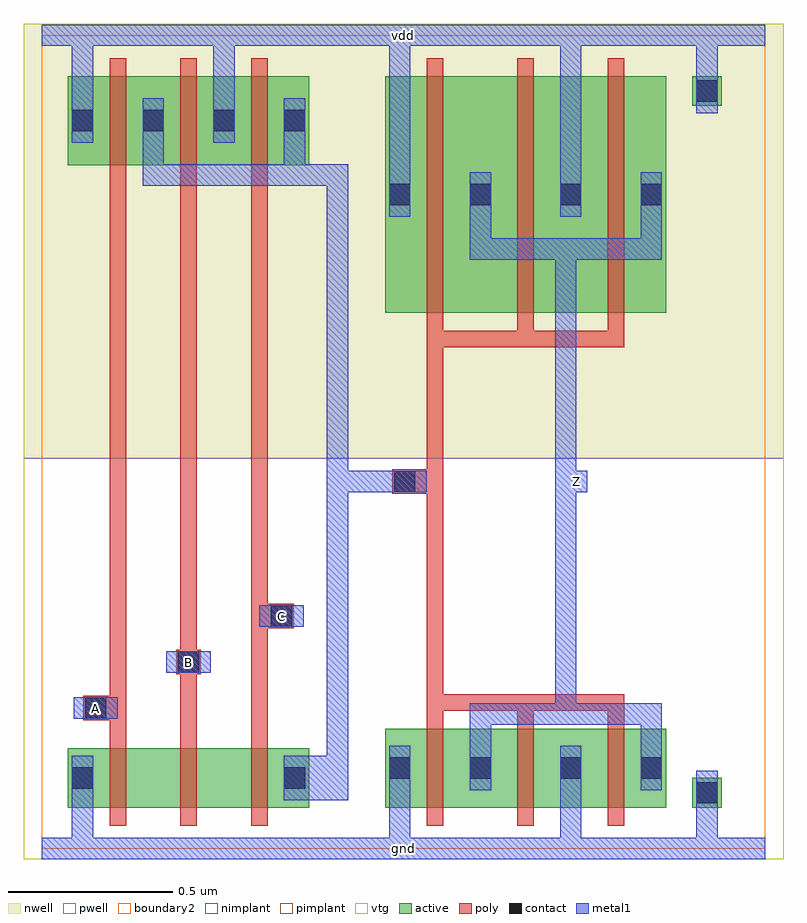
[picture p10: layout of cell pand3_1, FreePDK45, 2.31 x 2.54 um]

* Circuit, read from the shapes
.subckt pand3_1 A B C Z gnd vdd
M1 pnand3_0_0/nmos_m1_w0_180_sm1_dactive_3/D A gnd gnd nfet w=0.18u l=0.05u
M2 pnand3_0_0/nmos_m1_w0_180_sactive_dactive_4/D B pnand3_0_0/nmos_m1_w0_180_sm1_dactive_3/D gnd nfet w=0.18u l=0.05u
M3 pdriver_4_1/A C pnand3_0_0/nmos_m1_w0_180_sactive_dactive_4/D gnd nfet w=0.18u l=0.05u
M4 Z pdriver_4_1/A gnd gnd nfet w=0.24u l=0.05u m=3
M5 pdriver_4_1/A A vdd vdd pfet w=0.27u l=0.05u
M6 vdd B pdriver_4_1/A vdd pfet w=0.27u l=0.05u
M7 pdriver_4_1/A C vdd vdd pfet w=0.27u l=0.05u
M8 Z pdriver_4_1/A vdd vdd pfet w=0.72u l=0.05u m=3
.ends

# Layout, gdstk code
import gdstk
lib = gdstk.Library(unit=1e-6, precision=5e-10)
def R(c, l, rs):  # rectangles x0, y0, x1, y1
    for r in rs: c.add(gdstk.rectangle(r[:2], r[2:], *l))
def A(c, l, x, y, w, h, nx, ny, dx, dy):  # array of equal rectangles
    R(c, l, [(x+i*dx, y+j*dy, x+i*dx+w, y+j*dy+h) for i in range(nx) for j in range(ny)])
active = (1, 0)
pwell = (2, 0)
nwell = (3, 0)
nimplant = (4, 0)
pimplant = (5, 0)
vtg = (6, 0)
poly = (9, 0)
contact = (10, 0)
metal1 = (11, 0)
boundary2 = (239, 0)

contact_10 = lib.new_cell('contact_10')
R(contact_10, active, [(0,0.0225,0.09,0.1125)])
R(contact_10, nwell, [(-0.055,-0.0325,0.145,0.1675)])
R(contact_10, pimplant, [(0,0.0225,0.09,0.1125)])
R(contact_10, contact, [(0.0125,0.035,0.0775,0.1)])
R(contact_10, metal1, [(0.0125,0,0.0775,0.135)])
R(contact_10, boundary2, [(-0.055,-0.0325,0.145,0.1675)])

pmos_m1_w0_270_sm1_dm1 = lib.new_cell('pmos_m1_w0_270_sm1_dm1')
R(pmos_m1_w0_270_sm1_dm1, active, [(0,0,0.305,0.27)])
R(pmos_m1_w0_270_sm1_dm1, nwell, [(-0.08,-0.08,0.385,0.35)])
R(pmos_m1_w0_270_sm1_dm1, pimplant, [(0,0,0.305,0.27)])
R(pmos_m1_w0_270_sm1_dm1, vtg, [(-0.08,-0.08,0.385,0.35)])
R(pmos_m1_w0_270_sm1_dm1, poly, [(0.1275,-0.055,0.1775,0.325), (0.1275,-0.055,0.1775,0.325)])
R(pmos_m1_w0_270_sm1_dm1, metal1, [(0.0125,0.0675,0.0775,0.2025), (0.2275,0.0675,0.2925,0.2025)])
R(pmos_m1_w0_270_sm1_dm1, boundary2, [(-0.08,-0.08,0.385,0.35)])
pmos_m1_w0_270_sm1_dm1.add(gdstk.Reference(contact_10, (0,0.0675)))
pmos_m1_w0_270_sm1_dm1.add(gdstk.Reference(contact_10, (0.215,0.0675)))
pmos_m1_w0_270_sm1_dm1.add(gdstk.Label('S', (0.045,0.135), layer=11, texttype=0))
pmos_m1_w0_270_sm1_dm1.add(gdstk.Label('D', (0.26,0.135), layer=11, texttype=0))
pmos_m1_w0_270_sm1_dm1.add(gdstk.Label('G', (0.1525,0.135), layer=9, texttype=0))

contact_9 = lib.new_cell('contact_9')
R(contact_9, active, [(0,0.0225,0.09,0.1125)])
R(contact_9, pwell, [(-0.055,-0.0325,0.145,0.1675)])
R(contact_9, nimplant, [(0,0.0225,0.09,0.1125)])
R(contact_9, contact, [(0.0125,0.035,0.0775,0.1)])
R(contact_9, metal1, [(0.0125,0,0.0775,0.135)])
R(contact_9, boundary2, [(-0.055,-0.0325,0.145,0.1675)])

nmos_m1_w0_180_sm1_dacti = lib.new_cell('nmos_m1_w0_180_sm1_dactive')
R(nmos_m1_w0_180_sm1_dacti, active, [(0,0,0.305,0.18), (0.215,0.045,0.305,0.135)])
R(nmos_m1_w0_180_sm1_dacti, pwell, [(-0.08,-0.08,0.385,0.26)])
R(nmos_m1_w0_180_sm1_dacti, nimplant, [(0,0,0.305,0.18)])
R(nmos_m1_w0_180_sm1_dacti, vtg, [(-0.08,-0.08,0.385,0.26)])
R(nmos_m1_w0_180_sm1_dacti, poly, [(0.1275,-0.055,0.1775,0.235), (0.1275,-0.055,0.1775,0.235)])
R(nmos_m1_w0_180_sm1_dacti, metal1, [(0.0125,0.0225,0.0775,0.1575)])
R(nmos_m1_w0_180_sm1_dacti, boundary2, [(-0.08,-0.08,0.385,0.26)])
nmos_m1_w0_180_sm1_dacti.add(gdstk.Reference(contact_9, (0,0.0225)))
nmos_m1_w0_180_sm1_dacti.add(gdstk.Label('S', (0.045,0.09), layer=11, texttype=0))
nmos_m1_w0_180_sm1_dacti.add(gdstk.Label('D', (0.26,0.09), layer=1, texttype=0))
nmos_m1_w0_180_sm1_dacti.add(gdstk.Label('G', (0.1525,0.09), layer=9, texttype=0))

nmos_m1_w0_180_sactive_d = lib.new_cell('nmos_m1_w0_180_sactive_dactive')
R(nmos_m1_w0_180_sactive_d, active, [(0,0,0.305,0.18), (0,0.045,0.09,0.135), (0.215,0.045,0.305,0.135)])
R(nmos_m1_w0_180_sactive_d, pwell, [(-0.08,-0.08,0.385,0.26)])
R(nmos_m1_w0_180_sactive_d, nimplant, [(0,0,0.305,0.18)])
R(nmos_m1_w0_180_sactive_d, vtg, [(-0.08,-0.08,0.385,0.26)])
R(nmos_m1_w0_180_sactive_d, poly, [(0.1275,-0.055,0.1775,0.235), (0.1275,-0.055,0.1775,0.235)])
R(nmos_m1_w0_180_sactive_d, boundary2, [(-0.08,-0.08,0.385,0.26)])
nmos_m1_w0_180_sactive_d.add(gdstk.Label('S', (0.045,0.09), layer=1, texttype=0))
nmos_m1_w0_180_sactive_d.add(gdstk.Label('D', (0.26,0.09), layer=1, texttype=0))
nmos_m1_w0_180_sactive_d.add(gdstk.Label('G', (0.1525,0.09), layer=9, texttype=0))

c_nmos_m1_w0_180_sactive_d = lib.new_cell('nmos_m1_w0_180_sactive_dm1')
R(c_nmos_m1_w0_180_sactive_d, active, [(0,0,0.305,0.18), (0,0.045,0.09,0.135)])
R(c_nmos_m1_w0_180_sactive_d, pwell, [(-0.08,-0.08,0.385,0.26)])
R(c_nmos_m1_w0_180_sactive_d, nimplant, [(0,0,0.305,0.18)])
R(c_nmos_m1_w0_180_sactive_d, vtg, [(-0.08,-0.08,0.385,0.26)])
R(c_nmos_m1_w0_180_sactive_d, poly, [(0.1275,-0.055,0.1775,0.235), (0.1275,-0.055,0.1775,0.235)])
R(c_nmos_m1_w0_180_sactive_d, metal1, [(0.2275,0.0225,0.2925,0.1575)])
R(c_nmos_m1_w0_180_sactive_d, boundary2, [(-0.08,-0.08,0.385,0.26)])
c_nmos_m1_w0_180_sactive_d.add(gdstk.Reference(contact_9, (0.215,0.0225)))
c_nmos_m1_w0_180_sactive_d.add(gdstk.Label('D', (0.26,0.09), layer=11, texttype=0))
c_nmos_m1_w0_180_sactive_d.add(gdstk.Label('S', (0.045,0.09), layer=1, texttype=0))
c_nmos_m1_w0_180_sactive_d.add(gdstk.Label('G', (0.1525,0.09), layer=9, texttype=0))

contact_13 = lib.new_cell('contact_13')
R(contact_13, poly, [(0.03,0,0.105,0.075)])
R(contact_13, contact, [(0.035,0.005,0.1,0.07)])
R(contact_13, metal1, [(0,0.005,0.135,0.07)])
R(contact_13, boundary2, [(0,0,0.135,0.075)])

pnand3_0 = lib.new_cell('pnand3_0')
R(pnand3_0, pwell, [(-0.055,-0.0325,1.02,1.1875)])
R(pnand3_0, nwell, [(-0.055,1.1875,1.02,2.51)])
R(pnand3_0, vtg, [(-0.055,-0.0325,1.02,1.1875), (-0.055,1.1875,1.02,2.51)])
A(pnand3_0, poly, 0.2075, 0.36, 0.05, 1.665, 3, 1, 0.215, 0)
R(pnand3_0, poly, [(0.165,0.39,0.2075,0.465), (0.4225,0.53,0.4475,0.605), (0.6375,0.67,0.73,0.745)])
R(pnand3_0, metal1, [(0,-0.0325,0.965,0.0325), (0.0925,-0.0325,0.1575,0.1475), (0.77,0.1475,0.9,0.2825), (0.8675,0.1475,0.9325,2.05), (0.0975,0.395,0.2325,0.46), (0.38,0.535,0.515,0.6), (0.6625,0.675,0.7975,0.74), (0.3075,2.0175,0.3725,2.0825), (0.34,2.0175,0.9,2.0825), (0.7375,2.0175,0.8025,2.0825), (0.77,2.0175,0.9,2.0825), (0.8675,2.0175,0.9325,2.0825), (0.3075,2.05,0.3725,2.215), (0.7375,2.05,0.8025,2.215), (0.0925,2.1475,0.1575,2.5075), (0.5225,2.1475,0.5875,2.5075), (0,2.4425,0.965,2.5075)])
R(pnand3_0, boundary2, [(0,0,0.965,2.475), (0,0,0.965,2.475)])
pnand3_0.add(gdstk.Reference(pmos_m1_w0_270_sm1_dm1, (0.08,2.08)))
pnand3_0.add(gdstk.Reference(pmos_m1_w0_270_sm1_dm1, (0.295,2.08)))
pnand3_0.add(gdstk.Reference(pmos_m1_w0_270_sm1_dm1, (0.51,2.08)))
pnand3_0.add(gdstk.Reference(nmos_m1_w0_180_sm1_dacti, (0.08,0.125)))
pnand3_0.add(gdstk.Reference(nmos_m1_w0_180_sactive_d, (0.295,0.125)))
pnand3_0.add(gdstk.Reference(c_nmos_m1_w0_180_sactive_d, (0.51,0.125)))
pnand3_0.add(gdstk.Reference(contact_13, (0.0975,0.39)))
pnand3_0.add(gdstk.Reference(contact_13, (0.38,0.53)))
pnand3_0.add(gdstk.Reference(contact_13, (0.6625,0.67)))
pnand3_0.add(gdstk.Label('A', (0.165,0.4275), layer=11, texttype=0))
pnand3_0.add(gdstk.Label('B', (0.4475,0.5675), layer=11, texttype=0))
pnand3_0.add(gdstk.Label('C', (0.73,0.7075), layer=11, texttype=0))
pnand3_0.add(gdstk.Label('Z', (0.9,2.05), layer=11, texttype=0))
pnand3_0.add(gdstk.Label('gnd', (0.4825,0), layer=11, texttype=0))
pnand3_0.add(gdstk.Label('vdd', (0.4825,2.475), layer=11, texttype=0))

pmos_m3_w0_720_sm1_dm1_d = lib.new_cell('pmos_m3_w0_720_sm1_dm1_da_p')
R(pmos_m3_w0_720_sm1_dm1_d, active, [(0,0,0.855,0.72)])
R(pmos_m3_w0_720_sm1_dm1_d, nwell, [(-0.08,-0.08,0.935,0.8)])
R(pmos_m3_w0_720_sm1_dm1_d, pimplant, [(0,0,0.855,0.72)])
R(pmos_m3_w0_720_sm1_dm1_d, vtg, [(-0.08,-0.08,0.935,0.8)])
A(pmos_m3_w0_720_sm1_dm1_d, poly, 0.1275, -0.055, 0.05, 0.83, 3, 1, 0.275, 0)
R(pmos_m3_w0_720_sm1_dm1_d, poly, [(0.1275,-0.105,0.7275,-0.055)])
R(pmos_m3_w0_720_sm1_dm1_d, metal1, [(0.2575,0.1625,0.8425,0.2275), (0.2575,0.195,0.3225,0.36), (0.7775,0.195,0.8425,0.36), (0.0125,0.2925,0.0775,0.4275), (0.5325,0.2925,0.5975,0.4275)])
R(pmos_m3_w0_720_sm1_dm1_d, boundary2, [(-0.08,-0.105,0.935,0.8)])
pmos_m3_w0_720_sm1_dm1_d.add(gdstk.Reference(contact_10, (0,0.2925)))
pmos_m3_w0_720_sm1_dm1_d.add(gdstk.Reference(contact_10, (0.245,0.2925)))
pmos_m3_w0_720_sm1_dm1_d.add(gdstk.Reference(contact_10, (0.52,0.2925)))
pmos_m3_w0_720_sm1_dm1_d.add(gdstk.Reference(contact_10, (0.765,0.2925)))
pmos_m3_w0_720_sm1_dm1_d.add(gdstk.Label('S', (0.565,0.36), layer=11, texttype=0))
pmos_m3_w0_720_sm1_dm1_d.add(gdstk.Label('S', (0.045,0.36), layer=11, texttype=0))
pmos_m3_w0_720_sm1_dm1_d.add(gdstk.Label('D', (0.55,0.195), layer=11, texttype=0))
pmos_m3_w0_720_sm1_dm1_d.add(gdstk.Label('G', (0.4275,-0.08), layer=9, texttype=0))

nmos_m3_w0_240_sm1_dm1_d = lib.new_cell('nmos_m3_w0_240_sm1_dm1_da_p')
R(nmos_m3_w0_240_sm1_dm1_d, active, [(0,0,0.855,0.24)])
R(nmos_m3_w0_240_sm1_dm1_d, pwell, [(-0.08,-0.08,0.935,0.32)])
R(nmos_m3_w0_240_sm1_dm1_d, nimplant, [(0,0,0.855,0.24)])
R(nmos_m3_w0_240_sm1_dm1_d, vtg, [(-0.08,-0.08,0.935,0.32)])
A(nmos_m3_w0_240_sm1_dm1_d, poly, 0.1275, -0.055, 0.05, 0.35, 3, 1, 0.275, 0)
R(nmos_m3_w0_240_sm1_dm1_d, poly, [(0.1275,0.295,0.7275,0.345)])
R(nmos_m3_w0_240_sm1_dm1_d, metal1, [(0.0125,0.0525,0.0775,0.1875), (0.5325,0.0525,0.5975,0.1875), (0.2575,0.12,0.3225,0.285), (0.7775,0.12,0.8425,0.285), (0.2575,0.2525,0.8425,0.3175)])
R(nmos_m3_w0_240_sm1_dm1_d, boundary2, [(-0.08,-0.08,0.935,0.345)])
nmos_m3_w0_240_sm1_dm1_d.add(gdstk.Reference(contact_9, (0,0.0525)))
nmos_m3_w0_240_sm1_dm1_d.add(gdstk.Reference(contact_9, (0.245,0.0525)))
nmos_m3_w0_240_sm1_dm1_d.add(gdstk.Reference(contact_9, (0.52,0.0525)))
nmos_m3_w0_240_sm1_dm1_d.add(gdstk.Reference(contact_9, (0.765,0.0525)))
nmos_m3_w0_240_sm1_dm1_d.add(gdstk.Label('S', (0.565,0.12), layer=11, texttype=0))
nmos_m3_w0_240_sm1_dm1_d.add(gdstk.Label('S', (0.045,0.12), layer=11, texttype=0))
nmos_m3_w0_240_sm1_dm1_d.add(gdstk.Label('D', (0.55,0.285), layer=11, texttype=0))
nmos_m3_w0_240_sm1_dm1_d.add(gdstk.Label('G', (0.4275,0.32), layer=9, texttype=0))

contact_11 = lib.new_cell('contact_11')
R(contact_11, active, [(0,0.0225,0.09,0.1125)])
R(contact_11, nwell, [(-0.055,-0.0325,0.145,0.1675)])
R(contact_11, nimplant, [(0,0.0225,0.09,0.1125)])
R(contact_11, contact, [(0.0125,0.035,0.0775,0.1)])
R(contact_11, metal1, [(0.0125,0,0.0775,0.135)])
R(contact_11, boundary2, [(-0.055,-0.0325,0.145,0.1675)])

contact_12 = lib.new_cell('contact_12')
R(contact_12, active, [(0,0.0225,0.09,0.1125)])
R(contact_12, pwell, [(-0.055,-0.0325,0.145,0.1675)])
R(contact_12, pimplant, [(0,0.0225,0.09,0.1125)])
R(contact_12, contact, [(0.0125,0.035,0.0775,0.1)])
R(contact_12, metal1, [(0.0125,0,0.0775,0.135)])
R(contact_12, boundary2, [(-0.055,-0.0325,0.145,0.1675)])

pinv_15 = lib.new_cell('pinv_15')
R(pinv_15, pwell, [(-0.055,-0.0325,1.2925,1.1875)])
R(pinv_15, nwell, [(-0.055,1.1875,1.2925,2.51)])
R(pinv_15, vtg, [(-0.055,-0.0325,1.2925,1.1875), (-0.055,1.1875,1.2925,2.51)])
R(pinv_15, poly, [(0.2075,0.47,0.2575,1.525), (0.14,1.08,0.2075,1.155)])
R(pinv_15, metal1, [(0,-0.0325,1.2375,0.0325), (0.0925,-0.0325,0.1575,0.1775), (0.6125,-0.0325,0.6775,0.1775), (1.0275,0,1.0925,0.17), (0.5975,0.3775,0.6625,1.8575), (0.0725,1.085,0.2075,1.15), (0.63,1.085,0.695,1.15), (0.0925,1.9225,0.1575,2.5075), (0.6125,1.9225,0.6775,2.5075), (1.0275,2.305,1.0925,2.475), (0,2.4425,1.2375,2.5075)])
R(pinv_15, boundary2, [(0,0,1.2375,2.475), (0,0,1.2375,2.475)])
pinv_15.add(gdstk.Reference(pmos_m3_w0_720_sm1_dm1_d, (0.08,1.63)))
pinv_15.add(gdstk.Reference(nmos_m3_w0_240_sm1_dm1_d, (0.08,0.125)))
pinv_15.add(gdstk.Reference(contact_11, (1.015,2.2375)))
pinv_15.add(gdstk.Reference(contact_12, (1.015,0.1025)))
pinv_15.add(gdstk.Reference(contact_13, (0.0725,1.08)))
pinv_15.add(gdstk.Label('A', (0.14,1.1175), layer=11, texttype=0))
pinv_15.add(gdstk.Label('Z', (0.6625,1.1175), layer=11, texttype=0))
pinv_15.add(gdstk.Label('gnd', (0.619,0), layer=11, texttype=0))
pinv_15.add(gdstk.Label('vdd', (0.619,2.475), layer=11, texttype=0))

pdriver_4 = lib.new_cell('pdriver_4')
R(pdriver_4, pwell, [(-0.055,-0.0325,1.2925,1.1875)])
R(pdriver_4, nwell, [(-0.055,1.1875,1.2925,2.51)])
R(pdriver_4, vtg, [(-0.055,-0.0325,1.2925,1.1875), (-0.055,1.1875,1.2925,2.51)])
R(pdriver_4, metal1, [(0,-0.0325,1.2375,0.0325), (0.0725,1.085,0.2075,1.15), (0.63,1.085,0.695,1.15), (0,2.4425,1.2375,2.5075)])
R(pdriver_4, boundary2, [(0,0,1.2375,2.475), (0,0,1.2375,2.475)])
pdriver_4.add(gdstk.Reference(pinv_15, (0,0)))
pdriver_4.add(gdstk.Label('Z', (0.6625,1.1175), layer=11, texttype=0))
pdriver_4.add(gdstk.Label('A', (0.14,1.1175), layer=11, texttype=0))
pdriver_4.add(gdstk.Label('gnd', (0.619,0), layer=11, texttype=0))
pdriver_4.add(gdstk.Label('vdd', (0.619,2.475), layer=11, texttype=0))

pand3_1 = lib.new_cell('pand3_1')
R(pand3_1, metal1, [(0,-0.0325,2.2025,0.0325), (0.0975,0.395,0.2325,0.46), (0.38,0.535,0.515,0.6), (0.6625,0.675,0.7975,0.74), (0.8675,1.085,0.9325,1.15), (0.9,1.085,1.105,1.15), (1.595,1.085,1.66,1.15), (0.8675,1.1175,0.9325,2.05), (0,2.4425,2.2025,2.5075)])
R(pand3_1, boundary2, [(0,0,2.2025,2.475), (0,0,2.2025,2.475)])
pand3_1.add(gdstk.Reference(pnand3_0, (0,0)))
pand3_1.add(gdstk.Reference(pdriver_4, (0.965,0)))
pand3_1.add(gdstk.Label('Z', (1.6275,1.1175), layer=11, texttype=0))
pand3_1.add(gdstk.Label('A', (0.165,0.4275), layer=11, texttype=0))
pand3_1.add(gdstk.Label('B', (0.4475,0.5675), layer=11, texttype=0))
pand3_1.add(gdstk.Label('C', (0.73,0.7075), layer=11, texttype=0))
pand3_1.add(gdstk.Label('gnd', (1.101,0), layer=11, texttype=0))
pand3_1.add(gdstk.Label('vdd', (1.101,2.475), layer=11, texttype=0))

lib.write_gds('pand3_1.gds')
